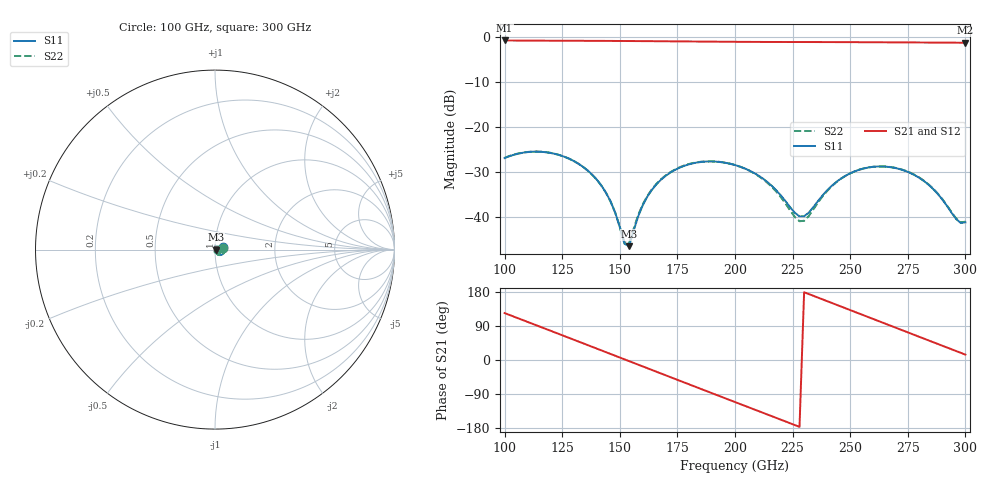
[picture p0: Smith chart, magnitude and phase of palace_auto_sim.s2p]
#  GHZ S DB R 50
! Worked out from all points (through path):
!   101 points, 100 GHz to 300 GHz, reference 50 ohm
!   highest |S21| = -0.82 dB at 100 GHz (marker M1); lowest = -1.3 dB at 300 GHz (marker M2)
!   group delay of S21, straight-line fit = 6.52 ps
!   lowest |S11| = -46.6 dB at 154 GHz (marker M3), VSWR 1.01, Z = 50.5 + j0.0324 ohm
!   |S11| at or under -10 dB: start of sweep to end of sweep
!   |S22| runs from -45.9 to -25.5 dB; largest |S21 - S12| = 1e-13
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100  -26.97 15.5  -0.82 123.8  -0.82 123.8  -26.92 14.4
116  -25.58 -17.6  -0.87 86.4  -0.87 86.4  -25.56 -18.6
124  -26.34 -34.4  -0.88 67.7  -0.88 67.7  -26.33 -35.4
134  -28.90 -54.5  -0.90 44.2  -0.90 44.2  -28.91 -55.4
144  -34.66 -69.8  -0.92 20.6  -0.92 20.6  -34.69 -70.3
148  -39.10 -68.9  -0.93 11.2  -0.93 11.2  -39.11 -68.7
152  -46.02 -38.8  -0.94 1.8  -0.94 1.8  -45.70 -37.1
154  -46.56 3.9  -0.95 -2.9  -0.95 -2.9  -45.95 3.3
160  -37.42 42.3  -0.97 -17.0  -0.97 -17.0  -37.22 39.8
168  -31.73 34.7  -1.00 -35.9  -1.00 -35.9  -31.63 32.4
184  -27.93 6.1  -1.06 -73.5  -1.06 -73.5  -27.87 3.5
192  -27.78 -8.4  -1.09 -92.2  -1.09 -92.2  -27.75 -11.3
200  -28.52 -22.0  -1.12 -110.9  -1.12 -110.9  -28.52 -25.2
214  -32.27 -39.8  -1.16 -143.7  -1.16 -143.7  -32.44 -44.2
228  -39.93 -11.0  -1.17 -176.5  -1.17 -176.5  -41.01 -12.9
234  -37.88 23.8  -1.18 169.4  -1.18 169.4  -38.38 26.0
248  -30.89 25.0  -1.20 136.4  -1.20 136.4  -30.92 25.0
258  -29.06 8.7  -1.22 112.9  -1.22 112.9  -29.04 8.0
268  -29.03 -9.5  -1.24 89.4  -1.24 89.4  -29.00 -10.5
282  -32.07 -31.8  -1.28 56.5  -1.28 56.5  -32.01 -33.2
296  -40.53 -17.0  -1.32 23.6  -1.32 23.6  -40.41 -18.7
300  -41.28 13.5  -1.33 14.2  -1.33 14.2  -41.12 11.4
